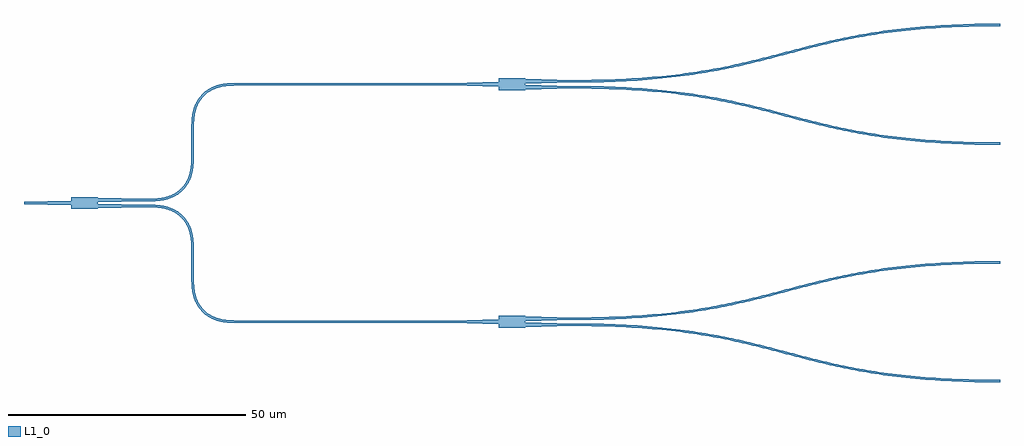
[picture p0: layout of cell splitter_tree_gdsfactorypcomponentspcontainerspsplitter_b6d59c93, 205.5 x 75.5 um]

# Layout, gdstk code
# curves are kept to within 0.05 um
from math import pi, radians
import gdstk
lib = gdstk.Library(unit=1e-6, precision=1e-09)
def R(c, l, rs):  # rectangles x0, y0, x1, y1
    for r in rs: c.add(gdstk.rectangle(r[:2], r[2:], *l))
def P(c, l, *ps):  # polygons
    for p in ps: c.add(gdstk.Polygon(p, *l))
L1_0 = (1, 0)

bend_s_gdsfactorypcompon = lib.new_cell('bend_s_gdsfactorypcomponentspbendspbend_s_S90_11p875_N9_bd3e5121')
P(bend_s_gdsfactorypcompon, L1_0, [(0,-0.25),(0,0.25),(7.771,0.378),(14.654,0.74),(20.771,1.303),(27.108,2.171),(31.995,3.058),(36.513,4.043),(50.499,7.621),(55.601,8.823),(61.128,9.914),(66.352,10.721),(72.154,11.374),(77.52,11.779),(83.445,12.035),(90,12.125),(90,11.625),(82.229,11.497),(75.346,11.135),(69.229,10.572),(62.892,9.704),(58.005,8.817),(53.487,7.832),(39.501,4.254),(34.399,3.052),(28.872,1.961),(23.648,1.154),(17.846,0.501),(12.48,0.096),(6.555,-0.16)])

mmi1x2_gdsfactorypcompon = lib.new_cell('mmi1x2_gdsfactorypcomponentspmmispmmi1x2_WNone_WT1_LT10_1f097353')
P(mmi1x2_gdsfactorypcompon, L1_0, [(0,-1.25),(0,-0.5),(-10,-0.25),(-10,0.25),(0,0.5),(0,1.25),(5.5,1.25),(5.5,1.125),(15.5,0.875),(15.5,0.375),(5.5,0.125),(5.5,-0.125),(15.5,-0.375),(15.5,-0.875),(5.5,-1.125),(5.5,-1.25)])

bend_euler_gdsfactorypco = lib.new_cell('bend_euler_gdsfactorypcomponentspbendspbend_euler_R10_A_335c8724')
P(bend_euler_gdsfactorypco, L1_0, [(0,-0.25),(0,0.25),(2.881,0.353),(3.952,0.52),(4.99,0.806),(6.431,1.505),(7.575,2.425),(8.495,3.569),(9.194,5.01),(9.48,6.048),(9.647,7.119),(9.75,10),(10.25,10),(10.158,7.205),(9.797,5.254),(9.457,4.312),(9.066,3.545),(8.5,2.715),(7.928,2.072),(7.285,1.5),(6.455,0.934),(5.688,0.543),(4.746,0.203),(2.795,-0.158)])

straight_gdsfactorypcomp = lib.new_cell('straight_gdsfactorypcomponentspwaveguidespstraight_L4p3_d26c6f77')
R(straight_gdsfactorypcomp, L1_0, [(0,-0.25,4.375,0.25)])

c_straight_gdsfactorypcomp = lib.new_cell('straight_gdsfactorypcomponentspwaveguidespstraight_L44p_ec613ee3')
R(c_straight_gdsfactorypcomp, L1_0, [(0,-0.25,44.5,0.25)])

splitter_tree_gdsfactory = lib.new_cell('splitter_tree_gdsfactorypcomponentspcontainerspsplitter_b6d59c93')
splitter_tree_gdsfactory.add(gdstk.Reference(bend_s_gdsfactorypcompon, (105.5,-24.375)))
splitter_tree_gdsfactory.add(gdstk.Reference(bend_s_gdsfactorypcompon, (105.5,-25.625), x_reflection=True))
splitter_tree_gdsfactory.add(gdstk.Reference(bend_s_gdsfactorypcompon, (105.5,25.625)))
splitter_tree_gdsfactory.add(gdstk.Reference(bend_s_gdsfactorypcompon, (105.5,24.375), x_reflection=True))
splitter_tree_gdsfactory.add(gdstk.Reference(mmi1x2_gdsfactorypcompon, (0,0)))
splitter_tree_gdsfactory.add(gdstk.Reference(mmi1x2_gdsfactorypcompon, (90,-25)))
splitter_tree_gdsfactory.add(gdstk.Reference(bend_euler_gdsfactorypco, (25.5,-10.625), rotation=pi/2))
splitter_tree_gdsfactory.add(gdstk.Reference(bend_euler_gdsfactorypco, (35.5,-25), rotation=pi, x_reflection=True))
splitter_tree_gdsfactory.add(gdstk.Reference(straight_gdsfactorypcomp, (25.5,-10.625), rotation=3*pi/2))
splitter_tree_gdsfactory.add(gdstk.Reference(c_straight_gdsfactorypcomp, (35.5,-25)))
splitter_tree_gdsfactory.add(gdstk.Reference(mmi1x2_gdsfactorypcompon, (90,25)))
splitter_tree_gdsfactory.add(gdstk.Reference(bend_euler_gdsfactorypco, (25.5,10.625), rotation=3*pi/2, x_reflection=True))
splitter_tree_gdsfactory.add(gdstk.Reference(bend_euler_gdsfactorypco, (35.5,25), rotation=pi))
splitter_tree_gdsfactory.add(gdstk.Reference(straight_gdsfactorypcomp, (25.5,10.625), rotation=pi/2))
splitter_tree_gdsfactory.add(gdstk.Reference(c_straight_gdsfactorypcomp, (35.5,25)))

lib.write_gds('splitter_tree_gdsfactorypcomponentspcontainerspsplitter_b6d59c93.gds')
